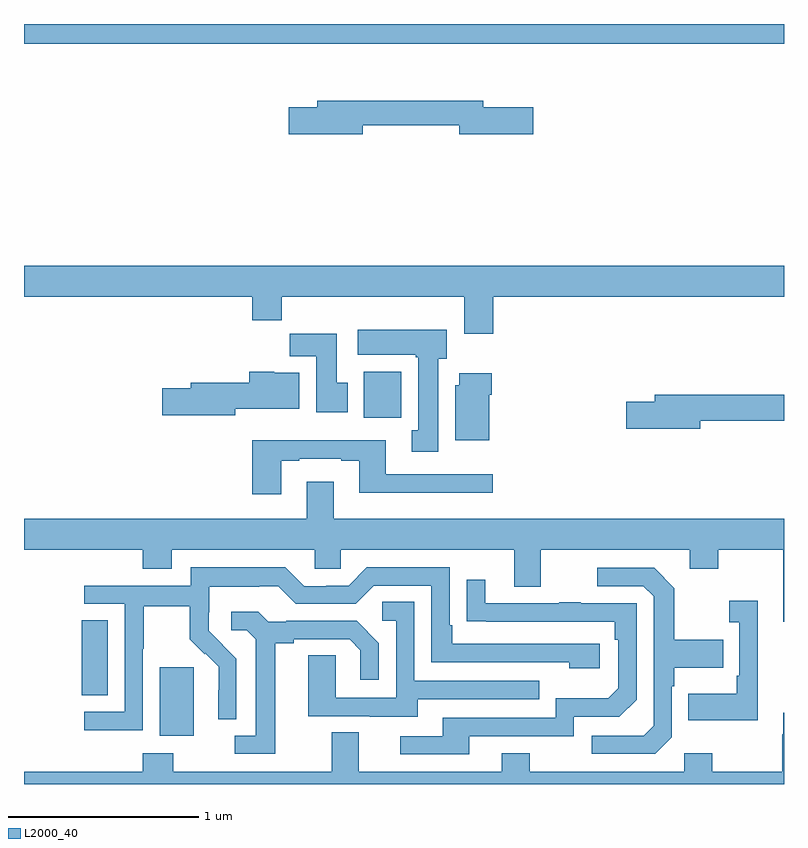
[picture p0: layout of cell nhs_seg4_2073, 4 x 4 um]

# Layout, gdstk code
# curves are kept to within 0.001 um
import gdstk
lib = gdstk.Library(unit=1e-6, precision=1e-09)
def R(c, l, rs):  # rectangles x0, y0, x1, y1
    for r in rs: c.add(gdstk.rectangle(r[:2], r[2:], *l))
def P(c, l, *ps):  # polygons
    for p in ps: c.add(gdstk.Polygon(p, *l))
L2000_40 = (2000, 40)

nhs_seg4_2073 = lib.new_cell('nhs_seg4_2073')
R(nhs_seg4_2073, L2000_40, [(217.715,817.154,217.894,817.515), (217.303,817.366,217.441,817.763), (218.789,818.828,218.986,819.07), (217,820.796,221,820.9)])
P(nhs_seg4_2073, L2000_40, [(218.782,820.366),(219.29,820.366),(219.29,820.319),(219.679,820.319),(219.679,820.461),(219.418,820.461),(219.418,820.495),(218.543,820.495),(218.543,820.461),(218.394,820.461),(218.394,820.319),(218.782,820.319)],
  [(219.47,819.464),(221,819.464),(221,819.628),(217,819.628),(217,819.464),(218.201,819.464),(218.201,819.34),(218.357,819.34),(218.357,819.464),(219.317,819.464),(219.317,819.27),(219.47,819.27)],
  [(219.181,819.138),(219.226,819.138),(219.226,819.292),(218.757,819.292),(218.757,819.158),(219.061,819.158),(219.061,819.145),(219.074,819.145),(219.074,818.762),(219.041,818.762),(219.041,818.649),(219.181,818.649)],
  [(218.704,819.012),(218.647,819.012),(218.647,819.271),(218.398,819.271),(218.398,819.152),(218.537,819.152),(218.537,818.856),(218.704,818.856)],
  [(218.112,818.876),(218.449,818.876),(218.449,819.064),(218.316,819.064),(218.316,819.07),(218.186,819.07),(218.186,819.012),(217.877,819.012),(217.877,818.982),(217.728,818.982),(217.728,818.84),(218.112,818.84)],
  [(219.448,818.948),(219.461,818.948),(219.461,819.061),(219.29,819.061),(219.29,819),(219.269,819),(219.269,818.708),(219.448,818.708)],
  [(220.558,818.812),(221,818.812),(221,818.948),(220.319,818.948),(220.319,818.912),(220.17,818.912),(220.17,818.77),(220.558,818.77)],
  [(218.353,818.601),(218.449,818.601),(218.449,818.613),(218.669,818.613),(218.669,818.601),(218.765,818.601),(218.765,818.432),(219.466,818.432),(219.466,818.529),(218.905,818.529),(218.905,818.71),(218.201,818.71),(218.201,818.424),(218.353,818.424)],
  [(221,818.296),(218.629,818.296),(218.629,818.491),(218.489,818.491),(218.489,818.296),(217,818.296),(217,818.132),(217.625,818.132),(217.625,818.033),(217.777,818.033),(217.777,818.132),(218.529,818.132),(218.529,818.034),(218.667,818.034),(218.667,818.132),(219.581,818.132),(219.581,817.938),(219.721,817.938),(219.721,818.132),(220.505,818.132),(220.505,818.033),(220.653,818.033),(220.653,818.132),(220.997,818.132),(220.997,817.755),(221,817.755)],
  [(217.626,817.612),(217.629,817.612),(217.629,817.836),(217.873,817.836),(217.873,817.661),(217.95,817.584),(217.953,817.587),(218.024,817.517),(218.024,817.394),(218.022,817.394),(218.022,817.24),(218.118,817.24),(218.118,817.558),(217.972,817.706),(217.972,817.803),(217.974,817.803),(217.974,817.937),(218.237,817.937),(218.237,817.941),(218.337,817.941),(218.43,817.848),(218.745,817.848),(218.841,817.944),(219.144,817.944),(219.144,817.542),(219.869,817.542),(219.869,817.508),(220.03,817.508),(220.03,817.638),(219.253,817.638),(219.253,817.735),(219.24,817.735),(219.24,818.04),(218.805,818.04),(218.709,817.944),(218.591,817.944),(218.591,817.941),(218.475,817.941),(218.375,818.041),(217.878,818.041),(217.878,817.944),(217.317,817.944),(217.317,817.848),(217.53,817.848),(217.53,817.281),(217.317,817.281),(217.317,817.183),(217.626,817.183)],
  [(220.41,817.146),(220.41,817.415),(220.423,817.415),(220.423,817.511),(220.679,817.511),(220.679,817.659),(220.423,817.659),(220.423,817.931),(220.317,818.037),(220.017,818.037),(220.017,817.941),(220.26,817.941),(220.314,817.887),(220.314,817.206),(220.263,817.155),(219.987,817.155),(219.987,817.059),(220.323,817.059)],
  [(219.343,817.152),(219.894,817.152),(219.894,817.254),(220.134,817.254),(220.224,817.344),(220.224,817.851),(219.929,817.851),(219.929,817.856),(219.817,817.856),(219.817,817.851),(219.427,817.851),(219.427,817.975),(219.331,817.975),(219.331,817.756),(220.108,817.755),(220.108,817.658),(220.128,817.658),(220.128,817.404),(220.075,817.351),(219.798,817.351),(219.798,817.248),(219.203,817.248),(219.203,817.152),(218.979,817.152),(218.979,817.056),(219.343,817.056)],
  [(220.862,817.864),(220.713,817.864),(220.713,817.751),(220.764,817.751),(220.764,817.471),(220.752,817.471),(220.752,817.375),(220.495,817.375),(220.495,817.235),(220.862,817.235)],
  [(219.073,817.347),(219.713,817.347),(219.713,817.443),(219.054,817.443),(219.054,817.859),(218.886,817.859),(218.886,817.758),(218.958,817.758),(218.958,817.353),(218.64,817.353),(218.64,817.577),(218.495,817.577),(218.495,817.257),(218.819,817.257),(218.819,817.253),(219.073,817.253)],
  [(218.323,817.64),(218.419,817.64),(218.419,817.662),(218.714,817.662),(218.771,817.605),(218.771,817.449),(218.868,817.449),(218.868,817.642),(218.752,817.758),(218.38,817.758),(218.38,817.755),(218.286,817.755),(218.234,817.807),(218.091,817.807),(218.091,817.71),(218.172,817.71),(218.219,817.663),(218.219,817.155),(218.109,817.155),(218.109,817.059),(218.323,817.059)],
  [(221,817.276),(220.997,817.276),(220.997,817.163),(220.99,817.163),(220.99,816.964),(220.623,816.964),(220.623,817.063),(220.476,817.063),(220.476,816.964),(219.663,816.964),(219.663,817.063),(219.515,817.063),(219.515,816.964),(218.761,816.964),(218.761,817.172),(218.621,817.172),(218.621,816.964),(217.785,816.964),(217.785,817.063),(217.625,817.063),(217.625,816.964),(217,816.964),(217,816.9),(221,816.9)])

lib.write_gds('nhs_seg4_2073.gds')
